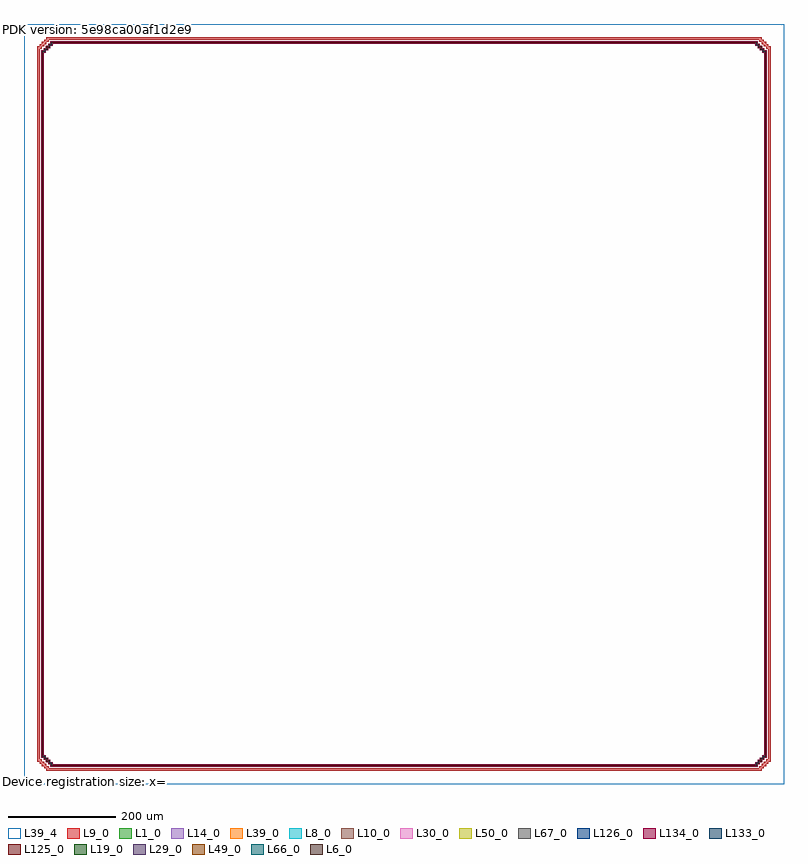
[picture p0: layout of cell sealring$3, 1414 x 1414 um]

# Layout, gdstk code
import gdstk
lib = gdstk.Library(unit=1e-6, precision=1e-09)
def R(c, l, rs):  # rectangles x0, y0, x1, y1
    for r in rs: c.add(gdstk.rectangle(r[:2], r[2:], *l))
def P(c, l, *ps):  # polygons
    for p in ps: c.add(gdstk.Polygon(p, *l))
L1_0 = (1, 0)
L6_0 = (6, 0)
L8_0 = (8, 0)
L9_0 = (9, 0)
L10_0 = (10, 0)
L14_0 = (14, 0)
L19_0 = (19, 0)
L29_0 = (29, 0)
L30_0 = (30, 0)
L39_0 = (39, 0)
L39_4 = (39, 4)
L49_0 = (49, 0)
L50_0 = (50, 0)
L66_0 = (66, 0)
L67_0 = (67, 0)
L125_0 = (125, 0)
L126_0 = (126, 0)
L133_0 = (133, 0)
L134_0 = (134, 0)

sealring_3 = lib.new_cell('sealring$3')
R(sealring_3, L1_0, [(49,32.2,53.2,40.6), (53.2,32.2,1360.8,36.4), (1360.8,32.2,1365,36.4), (44.8,36.4,49,44.8), (1360.8,36.4,1369.2,40.6), (40.6,40.6,44.8,49), (1365,40.6,1373.4,44.8), (36.4,44.8,40.6,53.2), (1369.2,44.8,1377.6,49), (32.2,49,36.4,53.2), (1373.4,49,1381.8,53.2), (32.2,53.2,36.4,1360.8), (1377.6,53.2,1381.8,1360.8), (32.2,1360.8,40.6,1365), (1373.4,1360.8,1377.6,1369.2), (1377.6,1360.8,1381.8,1365), (36.4,1365,44.8,1369.2), (1369.2,1365,1373.4,1373.4), (40.6,1369.2,49,1373.4), (1365,1369.2,1369.2,1377.6), (44.8,1373.4,53.2,1377.6), (1360.8,1373.4,1365,1381.8), (49,1377.6,53.2,1381.8), (53.2,1377.6,1360.8,1381.8)])
R(sealring_3, L6_0, [(53.2,34.2,1360.8,34.36), (34.2,53.2,34.36,1360.8), (1379.64,53.2,1379.8,1360.8), (53.2,1379.64,1360.8,1379.8)])
P(sealring_3, L6_0, [(1379.64,1360.8),(1379.64,1362.84),(1375.44,1362.84),(1375.44,1367.04),(1371.24,1367.04),(1371.24,1371.24),(1367.04,1371.24),(1367.04,1375.44),(1362.84,1375.44),(1362.84,1379.64),(1360.8,1379.64),(1360.8,1379.8),(1363,1379.8),(1363,1375.6),(1367.2,1375.6),(1367.2,1371.4),(1371.4,1371.4),(1371.4,1367.2),(1375.6,1367.2),(1375.6,1363),(1379.8,1363),(1379.8,1360.8)],
  [(51,34.2),(51,38.4),(46.8,38.4),(46.8,42.6),(42.6,42.6),(42.6,46.8),(38.4,46.8),(38.4,51),(34.2,51),(34.2,53.2),(34.36,53.2),(34.36,51.16),(38.56,51.16),(38.56,46.96),(42.76,46.96),(42.76,42.76),(46.96,42.76),(46.96,38.56),(51.16,38.56),(51.16,34.36),(53.2,34.36),(53.2,34.2)],
  [(1360.8,34.2),(1360.8,34.36),(1362.84,34.36),(1362.84,38.56),(1367.04,38.56),(1367.04,42.76),(1371.24,42.76),(1371.24,46.96),(1375.44,46.96),(1375.44,51.16),(1379.64,51.16),(1379.64,53.2),(1379.8,53.2),(1379.8,51),(1375.6,51),(1375.6,46.8),(1371.4,46.8),(1371.4,42.6),(1367.2,42.6),(1367.2,38.4),(1363,38.4),(1363,34.2)],
  [(34.2,1360.8),(34.2,1363),(38.4,1363),(38.4,1367.2),(42.6,1367.2),(42.6,1371.4),(46.8,1371.4),(46.8,1375.6),(51,1375.6),(51,1379.8),(53.2,1379.8),(53.2,1379.64),(51.16,1379.64),(51.16,1375.44),(46.96,1375.44),(46.96,1371.24),(42.76,1371.24),(42.76,1367.04),(38.56,1367.04),(38.56,1362.84),(34.36,1362.84),(34.36,1360.8)])
R(sealring_3, L8_0, [(49,32.2,53.2,40.6), (53.2,32.2,1360.8,36.4), (1360.8,32.2,1365,36.4), (44.8,36.4,49,44.8), (1360.8,36.4,1369.2,40.6), (40.6,40.6,44.8,49), (1365,40.6,1373.4,44.8), (36.4,44.8,40.6,53.2), (1369.2,44.8,1377.6,49), (32.2,49,36.4,53.2), (1373.4,49,1381.8,53.2), (32.2,53.2,36.4,1360.8), (1377.6,53.2,1381.8,1360.8), (32.2,1360.8,40.6,1365), (1373.4,1360.8,1377.6,1369.2), (1377.6,1360.8,1381.8,1365), (36.4,1365,44.8,1369.2), (1369.2,1365,1373.4,1373.4), (40.6,1369.2,49,1373.4), (1365,1369.2,1369.2,1377.6), (44.8,1373.4,53.2,1377.6), (1360.8,1373.4,1365,1381.8), (49,1377.6,53.2,1381.8), (53.2,1377.6,1360.8,1381.8)])
R(sealring_3, L9_0, [(53.2,25,1360.8,29.2), (25,53.2,29.2,1360.8), (1384.8,53.2,1389,1360.8), (53.2,1384.8,1360.8,1389)])
P(sealring_3, L9_0, [(41.8,25),(41.8,29.2),(37.6,29.2),(37.6,33.4),(33.4,33.4),(33.4,37.6),(29.2,37.6),(29.2,41.8),(25,41.8),(25,53.2),(29.2,53.2),(29.2,46),(33.4,46),(33.4,41.8),(37.6,41.8),(37.6,37.6),(41.8,37.6),(41.8,33.4),(46,33.4),(46,29.2),(78.2,29.2),(78.2,25)],
  [(1384.8,1360.8),(1384.8,1368),(1380.6,1368),(1380.6,1372.2),(1376.4,1372.2),(1376.4,1376.4),(1372.2,1376.4),(1372.2,1380.6),(1368,1380.6),(1368,1384.8),(1335.8,1384.8),(1335.8,1389),(1372.2,1389),(1372.2,1384.8),(1376.4,1384.8),(1376.4,1380.6),(1380.6,1380.6),(1380.6,1376.4),(1384.8,1376.4),(1384.8,1372.2),(1389,1372.2),(1389,1360.8)],
  [(1360.8,25),(1360.8,29.2),(1368,29.2),(1368,33.4),(1372.2,33.4),(1372.2,37.6),(1376.4,37.6),(1376.4,41.8),(1380.6,41.8),(1380.6,46),(1384.8,46),(1384.8,78.2),(1389,78.2),(1389,41.8),(1384.8,41.8),(1384.8,37.6),(1380.6,37.6),(1380.6,33.4),(1376.4,33.4),(1376.4,29.2),(1372.2,29.2),(1372.2,25)],
  [(25,1335.8),(25,1372.2),(29.2,1372.2),(29.2,1376.4),(33.4,1376.4),(33.4,1380.6),(37.6,1380.6),(37.6,1384.8),(41.8,1384.8),(41.8,1389),(53.2,1389),(53.2,1384.8),(46,1384.8),(46,1380.6),(41.8,1380.6),(41.8,1376.4),(37.6,1376.4),(37.6,1372.2),(33.4,1372.2),(33.4,1368),(29.2,1368),(29.2,1335.8)])
R(sealring_3, L10_0, [(49,32.2,53.2,40.6), (53.2,32.2,1360.8,36.4), (1360.8,32.2,1365,36.4), (44.8,36.4,49,44.8), (1360.8,36.4,1369.2,40.6), (40.6,40.6,44.8,49), (1365,40.6,1373.4,44.8), (36.4,44.8,40.6,53.2), (1369.2,44.8,1377.6,49), (32.2,49,36.4,53.2), (1373.4,49,1381.8,53.2), (32.2,53.2,36.4,1360.8), (1377.6,53.2,1381.8,1360.8), (32.2,1360.8,40.6,1365), (1373.4,1360.8,1377.6,1369.2), (1377.6,1360.8,1381.8,1365), (36.4,1365,44.8,1369.2), (1369.2,1365,1373.4,1373.4), (40.6,1369.2,49,1373.4), (1365,1369.2,1369.2,1377.6), (44.8,1373.4,53.2,1377.6), (1360.8,1373.4,1365,1381.8), (49,1377.6,53.2,1381.8), (53.2,1377.6,1360.8,1381.8)])
R(sealring_3, L14_0, [(49,32.2,53.2,40.6), (53.2,32.2,1360.8,36.4), (1360.8,32.2,1365,36.4), (44.8,36.4,49,44.8), (1360.8,36.4,1369.2,40.6), (40.6,40.6,44.8,49), (1365,40.6,1373.4,44.8), (36.4,44.8,40.6,53.2), (1369.2,44.8,1377.6,49), (32.2,49,36.4,53.2), (1373.4,49,1381.8,53.2), (32.2,53.2,36.4,1360.8), (1377.6,53.2,1381.8,1360.8), (32.2,1360.8,40.6,1365), (1373.4,1360.8,1377.6,1369.2), (1377.6,1360.8,1381.8,1365), (36.4,1365,44.8,1369.2), (1369.2,1365,1373.4,1373.4), (40.6,1369.2,49,1373.4), (1365,1369.2,1369.2,1377.6), (44.8,1373.4,53.2,1377.6), (1360.8,1373.4,1365,1381.8), (49,1377.6,53.2,1381.8), (53.2,1377.6,1360.8,1381.8)])
R(sealring_3, L19_0, [(53.2,34.2,1360.8,34.39), (34.2,53.2,34.39,1360.8), (1379.61,53.2,1379.8,1360.8), (53.2,1379.61,1360.8,1379.8)])
P(sealring_3, L19_0, [(1379.61,1360.8),(1379.61,1362.81),(1375.41,1362.81),(1375.41,1367.01),(1371.21,1367.01),(1371.21,1371.21),(1367.01,1371.21),(1367.01,1375.41),(1362.81,1375.41),(1362.81,1379.61),(1360.8,1379.61),(1360.8,1379.8),(1363,1379.8),(1363,1375.6),(1367.2,1375.6),(1367.2,1371.4),(1371.4,1371.4),(1371.4,1367.2),(1375.6,1367.2),(1375.6,1363),(1379.8,1363),(1379.8,1360.8)],
  [(51,34.2),(51,38.4),(46.8,38.4),(46.8,42.6),(42.6,42.6),(42.6,46.8),(38.4,46.8),(38.4,51),(34.2,51),(34.2,53.2),(34.39,53.2),(34.39,51.19),(38.59,51.19),(38.59,46.99),(42.79,46.99),(42.79,42.79),(46.99,42.79),(46.99,38.59),(51.19,38.59),(51.19,34.39),(53.2,34.39),(53.2,34.2)],
  [(1360.8,34.2),(1360.8,34.39),(1362.81,34.39),(1362.81,38.59),(1367.01,38.59),(1367.01,42.79),(1371.21,42.79),(1371.21,46.99),(1375.41,46.99),(1375.41,51.19),(1379.61,51.19),(1379.61,53.2),(1379.8,53.2),(1379.8,51),(1375.6,51),(1375.6,46.8),(1371.4,46.8),(1371.4,42.6),(1367.2,42.6),(1367.2,38.4),(1363,38.4),(1363,34.2)],
  [(34.2,1360.8),(34.2,1363),(38.4,1363),(38.4,1367.2),(42.6,1367.2),(42.6,1371.4),(46.8,1371.4),(46.8,1375.6),(51,1375.6),(51,1379.8),(53.2,1379.8),(53.2,1379.61),(51.19,1379.61),(51.19,1375.41),(46.99,1375.41),(46.99,1371.21),(42.79,1371.21),(42.79,1367.01),(38.59,1367.01),(38.59,1362.81),(34.39,1362.81),(34.39,1360.8)])
R(sealring_3, L29_0, [(53.2,34.2,1360.8,34.39), (34.2,53.2,34.39,1360.8), (1379.61,53.2,1379.8,1360.8), (53.2,1379.61,1360.8,1379.8)])
P(sealring_3, L29_0, [(1379.61,1360.8),(1379.61,1362.81),(1375.41,1362.81),(1375.41,1367.01),(1371.21,1367.01),(1371.21,1371.21),(1367.01,1371.21),(1367.01,1375.41),(1362.81,1375.41),(1362.81,1379.61),(1360.8,1379.61),(1360.8,1379.8),(1363,1379.8),(1363,1375.6),(1367.2,1375.6),(1367.2,1371.4),(1371.4,1371.4),(1371.4,1367.2),(1375.6,1367.2),(1375.6,1363),(1379.8,1363),(1379.8,1360.8)],
  [(51,34.2),(51,38.4),(46.8,38.4),(46.8,42.6),(42.6,42.6),(42.6,46.8),(38.4,46.8),(38.4,51),(34.2,51),(34.2,53.2),(34.39,53.2),(34.39,51.19),(38.59,51.19),(38.59,46.99),(42.79,46.99),(42.79,42.79),(46.99,42.79),(46.99,38.59),(51.19,38.59),(51.19,34.39),(53.2,34.39),(53.2,34.2)],
  [(1360.8,34.2),(1360.8,34.39),(1362.81,34.39),(1362.81,38.59),(1367.01,38.59),(1367.01,42.79),(1371.21,42.79),(1371.21,46.99),(1375.41,46.99),(1375.41,51.19),(1379.61,51.19),(1379.61,53.2),(1379.8,53.2),(1379.8,51),(1375.6,51),(1375.6,46.8),(1371.4,46.8),(1371.4,42.6),(1367.2,42.6),(1367.2,38.4),(1363,38.4),(1363,34.2)],
  [(34.2,1360.8),(34.2,1363),(38.4,1363),(38.4,1367.2),(42.6,1367.2),(42.6,1371.4),(46.8,1371.4),(46.8,1375.6),(51,1375.6),(51,1379.8),(53.2,1379.8),(53.2,1379.61),(51.19,1379.61),(51.19,1375.41),(46.99,1375.41),(46.99,1371.21),(42.79,1371.21),(42.79,1367.01),(38.59,1367.01),(38.59,1362.81),(34.39,1362.81),(34.39,1360.8)])
R(sealring_3, L30_0, [(49,32.2,53.2,40.6), (53.2,32.2,1360.8,36.4), (1360.8,32.2,1365,36.4), (44.8,36.4,49,44.8), (1360.8,36.4,1369.2,40.6), (40.6,40.6,44.8,49), (1365,40.6,1373.4,44.8), (36.4,44.8,40.6,53.2), (1369.2,44.8,1377.6,49), (32.2,49,36.4,53.2), (1373.4,49,1381.8,53.2), (32.2,53.2,36.4,1360.8), (1377.6,53.2,1381.8,1360.8), (32.2,1360.8,40.6,1365), (1373.4,1360.8,1377.6,1369.2), (1377.6,1360.8,1381.8,1365), (36.4,1365,44.8,1369.2), (1369.2,1365,1373.4,1373.4), (40.6,1369.2,49,1373.4), (1365,1369.2,1369.2,1377.6), (44.8,1373.4,53.2,1377.6), (1360.8,1373.4,1365,1381.8), (49,1377.6,53.2,1381.8), (53.2,1377.6,1360.8,1381.8)])
R(sealring_3, L39_0, [(49,32.2,53.2,40.6), (53.2,32.2,1360.8,36.4), (1360.8,32.2,1365,36.4), (44.8,36.4,49,44.8), (1360.8,36.4,1369.2,40.6), (40.6,40.6,44.8,49), (1365,40.6,1373.4,44.8), (36.4,44.8,40.6,53.2), (1369.2,44.8,1377.6,49), (32.2,49,36.4,53.2), (1373.4,49,1381.8,53.2), (32.2,53.2,36.4,1360.8), (1377.6,53.2,1381.8,1360.8), (32.2,1360.8,40.6,1365), (1373.4,1360.8,1377.6,1369.2), (1377.6,1360.8,1381.8,1365), (36.4,1365,44.8,1369.2), (1369.2,1365,1373.4,1373.4), (40.6,1369.2,49,1373.4), (1365,1369.2,1369.2,1377.6), (44.8,1373.4,53.2,1377.6), (1360.8,1373.4,1365,1381.8), (49,1377.6,53.2,1381.8), (53.2,1377.6,1360.8,1381.8)])
R(sealring_3, L39_4, [(0,0,1414,1414)])
R(sealring_3, L49_0, [(53.2,34.2,1360.8,34.39), (34.2,53.2,34.39,1360.8), (1379.61,53.2,1379.8,1360.8), (53.2,1379.61,1360.8,1379.8)])
P(sealring_3, L49_0, [(1379.61,1360.8),(1379.61,1362.81),(1375.41,1362.81),(1375.41,1367.01),(1371.21,1367.01),(1371.21,1371.21),(1367.01,1371.21),(1367.01,1375.41),(1362.81,1375.41),(1362.81,1379.61),(1360.8,1379.61),(1360.8,1379.8),(1363,1379.8),(1363,1375.6),(1367.2,1375.6),(1367.2,1371.4),(1371.4,1371.4),(1371.4,1367.2),(1375.6,1367.2),(1375.6,1363),(1379.8,1363),(1379.8,1360.8)],
  [(51,34.2),(51,38.4),(46.8,38.4),(46.8,42.6),(42.6,42.6),(42.6,46.8),(38.4,46.8),(38.4,51),(34.2,51),(34.2,53.2),(34.39,53.2),(34.39,51.19),(38.59,51.19),(38.59,46.99),(42.79,46.99),(42.79,42.79),(46.99,42.79),(46.99,38.59),(51.19,38.59),(51.19,34.39),(53.2,34.39),(53.2,34.2)],
  [(1360.8,34.2),(1360.8,34.39),(1362.81,34.39),(1362.81,38.59),(1367.01,38.59),(1367.01,42.79),(1371.21,42.79),(1371.21,46.99),(1375.41,46.99),(1375.41,51.19),(1379.61,51.19),(1379.61,53.2),(1379.8,53.2),(1379.8,51),(1375.6,51),(1375.6,46.8),(1371.4,46.8),(1371.4,42.6),(1367.2,42.6),(1367.2,38.4),(1363,38.4),(1363,34.2)],
  [(34.2,1360.8),(34.2,1363),(38.4,1363),(38.4,1367.2),(42.6,1367.2),(42.6,1371.4),(46.8,1371.4),(46.8,1375.6),(51,1375.6),(51,1379.8),(53.2,1379.8),(53.2,1379.61),(51.19,1379.61),(51.19,1375.41),(46.99,1375.41),(46.99,1371.21),(42.79,1371.21),(42.79,1367.01),(38.59,1367.01),(38.59,1362.81),(34.39,1362.81),(34.39,1360.8)])
R(sealring_3, L50_0, [(49,32.2,53.2,40.6), (53.2,32.2,1360.8,36.4), (1360.8,32.2,1365,36.4), (44.8,36.4,49,44.8), (1360.8,36.4,1369.2,40.6), (40.6,40.6,44.8,49), (1365,40.6,1373.4,44.8), (36.4,44.8,40.6,53.2), (1369.2,44.8,1377.6,49), (32.2,49,36.4,53.2), (1373.4,49,1381.8,53.2), (32.2,53.2,36.4,1360.8), (1377.6,53.2,1381.8,1360.8), (32.2,1360.8,40.6,1365), (1373.4,1360.8,1377.6,1369.2), (1377.6,1360.8,1381.8,1365), (36.4,1365,44.8,1369.2), (1369.2,1365,1373.4,1373.4), (40.6,1369.2,49,1373.4), (1365,1369.2,1369.2,1377.6), (44.8,1373.4,53.2,1377.6), (1360.8,1373.4,1365,1381.8), (49,1377.6,53.2,1381.8), (53.2,1377.6,1360.8,1381.8)])
R(sealring_3, L66_0, [(53.2,34.2,1360.8,34.39), (34.2,53.2,34.39,1360.8), (1379.61,53.2,1379.8,1360.8), (53.2,1379.61,1360.8,1379.8)])
P(sealring_3, L66_0, [(1379.61,1360.8),(1379.61,1362.81),(1375.41,1362.81),(1375.41,1367.01),(1371.21,1367.01),(1371.21,1371.21),(1367.01,1371.21),(1367.01,1375.41),(1362.81,1375.41),(1362.81,1379.61),(1360.8,1379.61),(1360.8,1379.8),(1363,1379.8),(1363,1375.6),(1367.2,1375.6),(1367.2,1371.4),(1371.4,1371.4),(1371.4,1367.2),(1375.6,1367.2),(1375.6,1363),(1379.8,1363),(1379.8,1360.8)],
  [(51,34.2),(51,38.4),(46.8,38.4),(46.8,42.6),(42.6,42.6),(42.6,46.8),(38.4,46.8),(38.4,51),(34.2,51),(34.2,53.2),(34.39,53.2),(34.39,51.19),(38.59,51.19),(38.59,46.99),(42.79,46.99),(42.79,42.79),(46.99,42.79),(46.99,38.59),(51.19,38.59),(51.19,34.39),(53.2,34.39),(53.2,34.2)],
  [(1360.8,34.2),(1360.8,34.39),(1362.81,34.39),(1362.81,38.59),(1367.01,38.59),(1367.01,42.79),(1371.21,42.79),(1371.21,46.99),(1375.41,46.99),(1375.41,51.19),(1379.61,51.19),(1379.61,53.2),(1379.8,53.2),(1379.8,51),(1375.6,51),(1375.6,46.8),(1371.4,46.8),(1371.4,42.6),(1367.2,42.6),(1367.2,38.4),(1363,38.4),(1363,34.2)],
  [(34.2,1360.8),(34.2,1363),(38.4,1363),(38.4,1367.2),(42.6,1367.2),(42.6,1371.4),(46.8,1371.4),(46.8,1375.6),(51,1375.6),(51,1379.8),(53.2,1379.8),(53.2,1379.61),(51.19,1379.61),(51.19,1375.41),(46.99,1375.41),(46.99,1371.21),(42.79,1371.21),(42.79,1367.01),(38.59,1367.01),(38.59,1362.81),(34.39,1362.81),(34.39,1360.8)])
R(sealring_3, L67_0, [(49,32.2,53.2,40.6), (53.2,32.2,1360.8,36.4), (1360.8,32.2,1365,36.4), (44.8,36.4,49,44.8), (1360.8,36.4,1369.2,40.6), (40.6,40.6,44.8,49), (1365,40.6,1373.4,44.8), (36.4,44.8,40.6,53.2), (1369.2,44.8,1377.6,49), (32.2,49,36.4,53.2), (1373.4,49,1381.8,53.2), (32.2,53.2,36.4,1360.8), (1377.6,53.2,1381.8,1360.8), (32.2,1360.8,40.6,1365), (1373.4,1360.8,1377.6,1369.2), (1377.6,1360.8,1381.8,1365), (36.4,1365,44.8,1369.2), (1369.2,1365,1373.4,1373.4), (40.6,1369.2,49,1373.4), (1365,1369.2,1369.2,1377.6), (44.8,1373.4,53.2,1377.6), (1360.8,1373.4,1365,1381.8), (49,1377.6,53.2,1381.8), (53.2,1377.6,1360.8,1381.8)])
R(sealring_3, L125_0, [(53.2,34.2,1360.8,34.62), (34.2,53.2,34.62,1360.8), (1379.38,53.2,1379.8,1360.8), (53.2,1379.38,1360.8,1379.8)])
P(sealring_3, L125_0, [(1379.38,1360.8),(1379.38,1362.58),(1375.18,1362.58),(1375.18,1366.78),(1370.98,1366.78),(1370.98,1370.98),(1366.78,1370.98),(1366.78,1375.18),(1362.58,1375.18),(1362.58,1379.38),(1360.8,1379.38),(1360.8,1379.8),(1363,1379.8),(1363,1375.6),(1367.2,1375.6),(1367.2,1371.4),(1371.4,1371.4),(1371.4,1367.2),(1375.6,1367.2),(1375.6,1363),(1379.8,1363),(1379.8,1360.8)],
  [(51,34.2),(51,38.4),(46.8,38.4),(46.8,42.6),(42.6,42.6),(42.6,46.8),(38.4,46.8),(38.4,51),(34.2,51),(34.2,53.2),(34.62,53.2),(34.62,51.42),(38.82,51.42),(38.82,47.22),(43.02,47.22),(43.02,43.02),(47.22,43.02),(47.22,38.82),(51.42,38.82),(51.42,34.62),(53.2,34.62),(53.2,34.2)],
  [(1360.8,34.2),(1360.8,34.62),(1362.58,34.62),(1362.58,38.82),(1366.78,38.82),(1366.78,43.02),(1370.98,43.02),(1370.98,47.22),(1375.18,47.22),(1375.18,51.42),(1379.38,51.42),(1379.38,53.2),(1379.8,53.2),(1379.8,51),(1375.6,51),(1375.6,46.8),(1371.4,46.8),(1371.4,42.6),(1367.2,42.6),(1367.2,38.4),(1363,38.4),(1363,34.2)],
  [(34.2,1360.8),(34.2,1363),(38.4,1363),(38.4,1367.2),(42.6,1367.2),(42.6,1371.4),(46.8,1371.4),(46.8,1375.6),(51,1375.6),(51,1379.8),(53.2,1379.8),(53.2,1379.38),(51.42,1379.38),(51.42,1375.18),(47.22,1375.18),(47.22,1370.98),(43.02,1370.98),(43.02,1366.78),(38.82,1366.78),(38.82,1362.58),(34.62,1362.58),(34.62,1360.8)])
R(sealring_3, L126_0, [(49,32.2,53.2,40.6), (53.2,32.2,1360.8,36.4), (1360.8,32.2,1365,36.4), (44.8,36.4,49,44.8), (1360.8,36.4,1369.2,40.6), (40.6,40.6,44.8,49), (1365,40.6,1373.4,44.8), (36.4,44.8,40.6,53.2), (1369.2,44.8,1377.6,49), (32.2,49,36.4,53.2), (1373.4,49,1381.8,53.2), (32.2,53.2,36.4,1360.8), (1377.6,53.2,1381.8,1360.8), (32.2,1360.8,40.6,1365), (1373.4,1360.8,1377.6,1369.2), (1377.6,1360.8,1381.8,1365), (36.4,1365,44.8,1369.2), (1369.2,1365,1373.4,1373.4), (40.6,1369.2,49,1373.4), (1365,1369.2,1369.2,1377.6), (44.8,1373.4,53.2,1377.6), (1360.8,1373.4,1365,1381.8), (49,1377.6,53.2,1381.8), (53.2,1377.6,1360.8,1381.8)])
R(sealring_3, L133_0, [(53.2,34.2,1360.8,35.1), (34.2,53.2,35.1,1360.8), (1378.9,53.2,1379.8,1360.8), (53.2,1378.9,1360.8,1379.8)])
P(sealring_3, L133_0, [(1378.9,1360.8),(1378.9,1362.1),(1374.7,1362.1),(1374.7,1366.3),(1370.5,1366.3),(1370.5,1370.5),(1366.3,1370.5),(1366.3,1374.7),(1362.1,1374.7),(1362.1,1378.9),(1360.8,1378.9),(1360.8,1379.8),(1363,1379.8),(1363,1375.6),(1367.2,1375.6),(1367.2,1371.4),(1371.4,1371.4),(1371.4,1367.2),(1375.6,1367.2),(1375.6,1363),(1379.8,1363),(1379.8,1360.8)],
  [(51,34.2),(51,38.4),(46.8,38.4),(46.8,42.6),(42.6,42.6),(42.6,46.8),(38.4,46.8),(38.4,51),(34.2,51),(34.2,53.2),(35.1,53.2),(35.1,51.9),(39.3,51.9),(39.3,47.7),(43.5,47.7),(43.5,43.5),(47.7,43.5),(47.7,39.3),(51.9,39.3),(51.9,35.1),(53.2,35.1),(53.2,34.2)],
  [(1360.8,34.2),(1360.8,35.1),(1362.1,35.1),(1362.1,39.3),(1366.3,39.3),(1366.3,43.5),(1370.5,43.5),(1370.5,47.7),(1374.7,47.7),(1374.7,51.9),(1378.9,51.9),(1378.9,53.2),(1379.8,53.2),(1379.8,51),(1375.6,51),(1375.6,46.8),(1371.4,46.8),(1371.4,42.6),(1367.2,42.6),(1367.2,38.4),(1363,38.4),(1363,34.2)],
  [(34.2,1360.8),(34.2,1363),(38.4,1363),(38.4,1367.2),(42.6,1367.2),(42.6,1371.4),(46.8,1371.4),(46.8,1375.6),(51,1375.6),(51,1379.8),(53.2,1379.8),(53.2,1378.9),(51.9,1378.9),(51.9,1374.7),(47.7,1374.7),(47.7,1370.5),(43.5,1370.5),(43.5,1366.3),(39.3,1366.3),(39.3,1362.1),(35.1,1362.1),(35.1,1360.8)])
R(sealring_3, L134_0, [(49,32.2,53.2,40.6), (53.2,32.2,1360.8,36.4), (1360.8,32.2,1365,36.4), (44.8,36.4,49,44.8), (1360.8,36.4,1369.2,40.6), (40.6,40.6,44.8,49), (1365,40.6,1373.4,44.8), (36.4,44.8,40.6,53.2), (1369.2,44.8,1377.6,49), (32.2,49,36.4,53.2), (1373.4,49,1381.8,53.2), (32.2,53.2,36.4,1360.8), (1377.6,53.2,1381.8,1360.8), (32.2,1360.8,40.6,1365), (1373.4,1360.8,1377.6,1369.2), (1377.6,1360.8,1381.8,1365), (36.4,1365,44.8,1369.2), (1369.2,1365,1373.4,1373.4), (40.6,1369.2,49,1373.4), (1365,1369.2,1369.2,1377.6), (44.8,1373.4,53.2,1377.6), (1360.8,1373.4,1365,1381.8), (49,1377.6,53.2,1381.8), (53.2,1377.6,1360.8,1381.8)])
sealring_3.add(gdstk.Label('Device registration size: x=1414.0 um ; y=1414.0 um\nCalculated area: 2.0e-06 sq mm', (5,5), layer=63, texttype=0))
sealring_3.add(gdstk.Label('PDK version: 5e98ca00af1d2e9b12b05a142f35f335d7c499ad', (5,1404), layer=63, texttype=0))

lib.write_gds('sealring_3.gds')
